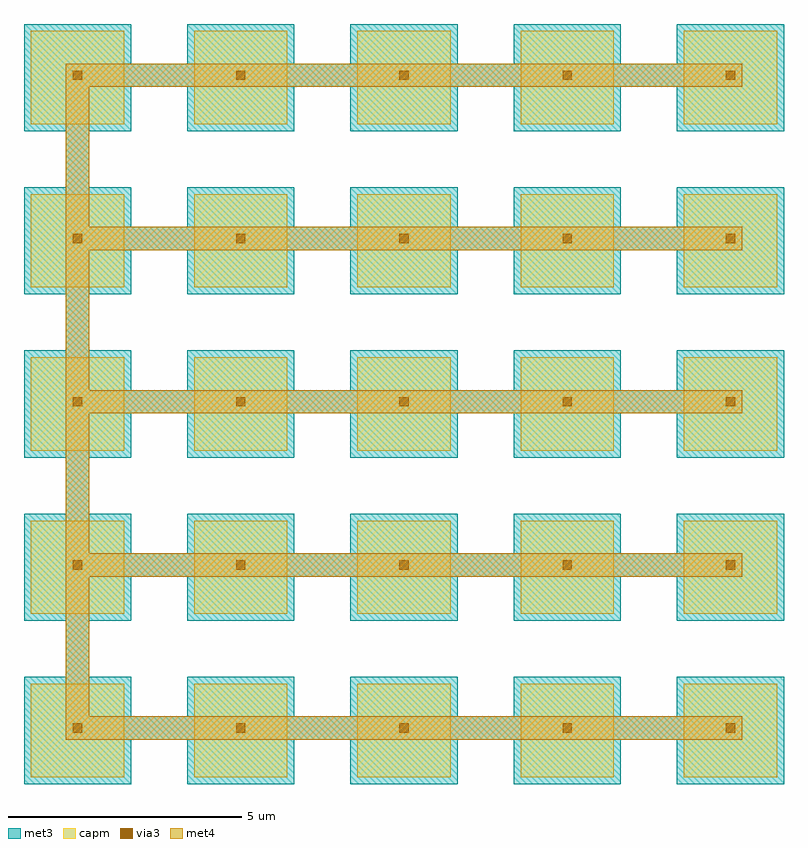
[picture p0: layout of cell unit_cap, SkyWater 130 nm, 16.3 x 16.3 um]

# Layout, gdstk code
import gdstk
lib = gdstk.Library(unit=1e-6, precision=1e-09)
def R(c, l, rs):  # rectangles x0, y0, x1, y1
    for r in rs: c.add(gdstk.rectangle(r[:2], r[2:], *l))
def A(c, l, x, y, w, h, nx, ny, dx, dy):  # array of equal rectangles
    R(c, l, [(x+i*dx, y+j*dy, x+i*dx+w, y+j*dy+h) for i in range(nx) for j in range(ny)])
met3 = (70, 20)
via3 = (70, 44)
met4 = (71, 20)
capm = (89, 44)

unit_cap = lib.new_cell('unit_cap')
A(unit_cap, met3, -0.15, -14.15, 2.3, 0.95, 5, 5, 3.5, 3.5)
A(unit_cap, met3, -0.15, -13.2, 16.3, 0.5, 1, 5, 0, 3.5)
A(unit_cap, met3, -0.15, -12.7, 2.3, 0.85, 5, 5, 3.5, 3.5)
A(unit_cap, met3, 0.75, -11.85, 0.5, 1.2, 1, 4, 0, 3.5)
A(unit_cap, via3, 0.9, -13.05, 0.2, 0.2, 5, 5, 3.5, 3.5)
A(unit_cap, met4, 0.75, -13.2, 14.5, 0.5, 1, 5, 0, 3.5)
A(unit_cap, met4, 0.75, -12.7, 0.5, 3, 1, 4, 0, 3.5)
A(unit_cap, capm, 0, -14, 2, 2, 5, 5, 3.5, 3.5)

lib.write_gds('unit_cap.gds')
